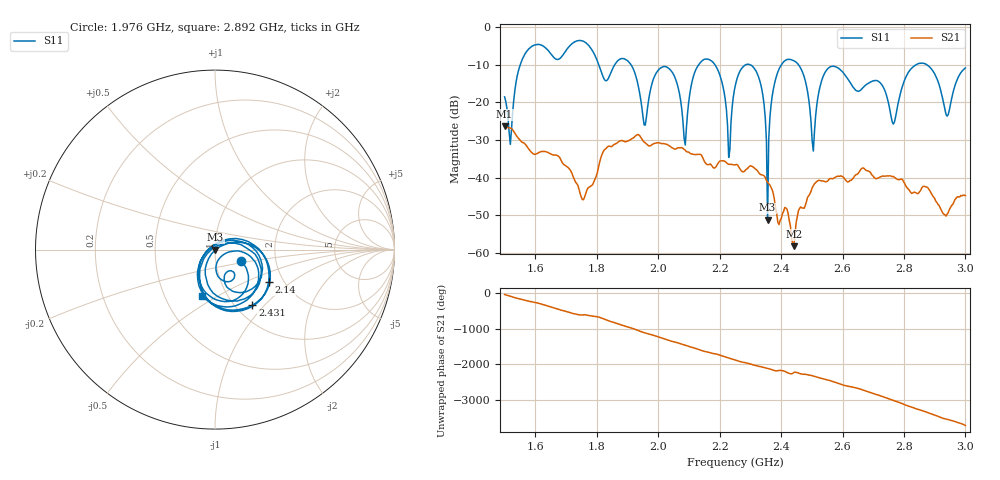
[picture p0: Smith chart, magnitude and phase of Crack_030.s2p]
# HZ S RI R 50
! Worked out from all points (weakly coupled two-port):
!   404 points, 1.5 GHz to 3 GHz, reference 50 ohm
!   highest |S21| = -26.33 dB at 1.5 GHz (marker M1); lowest = -58.3 dB at 2.442 GHz (marker M2)
!   lowest |S11| = -51.2 dB at 2.356 GHz (marker M3), VSWR 1.01, Z = 50.3 - j0.0763 ohm
!   |S11| at or under -10 dB: 1.912 GHz to 2.131 GHz (219.7 MHz wide, 10.9 % of centre); 2.457 GHz to 2.839 GHz (381.6 MHz wide, 14.4 % of centre); 2.875 GHz to end of sweep (the widest 3 of 7)
!   S12 and S22 are empty: the file has one direction only
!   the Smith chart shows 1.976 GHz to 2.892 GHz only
!   S11 on the Smith chart (normalised r, x): 1.976 GHz: 1.32, -0.18; 2.14 GHz: 1.67, -0.69; 2.431 GHz: 1.19, -0.86; 2.892 GHz: 0.76, -0.43
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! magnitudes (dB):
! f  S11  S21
! 1.5 GHz  -18.5  -26.3
! 1.753 GHz  -3.6  -45.9
! 1.906 GHz  -9.3  -30.1
! 1.954 GHz  -26.0  -30.5
! 1.976 GHz  -16.1  -31.4
! 2.002 GHz  -11.2  -30.8
! 2.088 GHz  -31.3  -32.7
! 2.14 GHz  -9.1  -33.9
! 2.196 GHz  -11.7  -36.1
! 2.23 GHz  -34.6  -36.5
! 2.252 GHz  -15.2  -36.6
! 2.319 GHz  -11.7  -37.8
! 2.356 GHz  -51.2  -41.3
! 2.382 GHz  -13.8  -48.1
! 2.431 GHz  -8.5  -52.9
! 2.442 GHz  -8.9  -58.3
! 2.501 GHz  -30.3  -42.7
! 2.565 GHz  -10.4  -40.2
! 2.751 GHz  -20.5  -39.5
! 2.892 GHz  -11.4  -44.7
! 2.94 GHz  -23.6  -49.7
! 3 GHz  -10.8  -44.8
